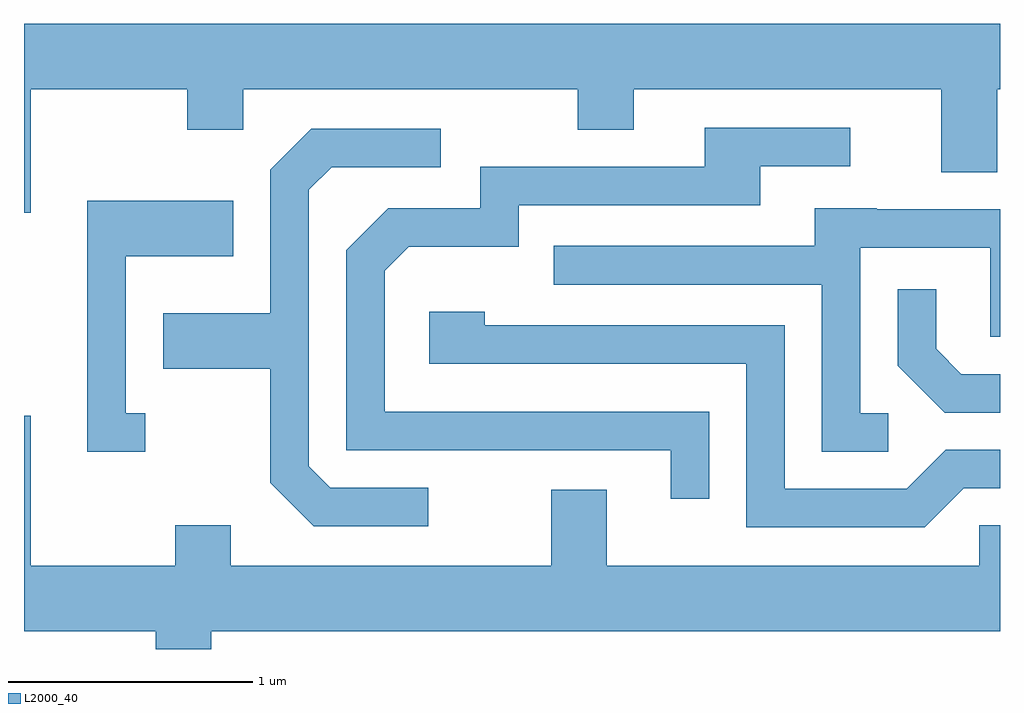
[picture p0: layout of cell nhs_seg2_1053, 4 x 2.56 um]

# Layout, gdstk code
import gdstk
lib = gdstk.Library(unit=1e-6, precision=1e-09)
def P(c, l, *ps):  # polygons
    for p in ps: c.add(gdstk.Polygon(p, *l))
L2000_40 = (2000, 40)

nhs_seg2_1053 = lib.new_cell('nhs_seg2_1053')
P(nhs_seg2_1053, L2000_40, [(215.639,1046.096),(216.281,1046.096),(216.281,1045.931),(216.509,1045.931),(216.509,1046.096),(217.881,1046.096),(217.881,1045.931),(218.109,1045.931),(218.109,1046.096),(219.371,1046.096),(219.371,1045.756),(219.599,1045.756),(219.599,1046.096),(219.611,1046.096),(219.611,1046.364),(215.611,1046.364),(215.611,1045.591),(215.639,1045.591)],
  [(218.419,1044.774),(217.089,1044.774),(217.089,1045.353),(217.187,1045.451),(217.639,1045.451),(217.639,1045.621),(218.629,1045.621),(218.629,1045.781),(218.998,1045.781),(218.998,1045.939),(218.401,1045.939),(218.401,1045.779),(217.481,1045.779),(217.481,1045.609),(217.104,1045.609),(216.931,1045.437),(216.931,1044.616),(218.261,1044.616),(218.261,1044.418),(218.419,1044.418)],
  [(217.268,1044.464),(216.867,1044.464),(216.779,1044.552),(216.779,1045.684),(216.872,1045.776),(217.318,1045.776),(217.318,1045.934),(216.789,1045.934),(216.621,1045.767),(216.621,1045.179),(216.181,1045.179),(216.181,1044.951),(216.621,1044.951),(216.621,1044.484),(216.799,1044.306),(217.268,1044.306)],
  [(216.108,1044.769),(216.029,1044.769),(216.029,1045.411),(216.469,1045.411),(216.469,1045.639),(215.871,1045.639),(215.871,1044.611),(216.108,1044.611)],
  [(219.153,1044.769),(219.039,1044.769),(219.039,1045.446),(219.571,1045.446),(219.571,1045.081),(219.611,1045.081),(219.611,1045.604),(219.105,1045.604),(219.105,1045.609),(218.851,1045.609),(218.851,1045.454),(217.783,1045.454),(217.783,1045.296),(218.881,1045.296),(218.881,1044.611),(219.153,1044.611)],
  [(219.611,1044.929),(219.452,1044.929),(219.349,1045.032),(219.349,1045.277),(219.191,1045.277),(219.191,1044.964),(219.384,1044.771),(219.611,1044.771)],
  [(219.462,1044.461),(219.611,1044.461),(219.611,1044.619),(219.389,1044.619),(219.229,1044.459),(218.729,1044.459),(218.729,1045.129),(217.499,1045.129),(217.499,1045.184),(217.271,1045.184),(217.271,1044.971),(218.571,1044.971),(218.571,1044.301),(219.302,1044.301)],
  [(216.379,1043.876),(219.611,1043.876),(219.611,1044.309),(219.526,1044.309),(219.526,1044.144),(217.999,1044.144),(217.999,1044.454),(217.771,1044.454),(217.771,1044.144),(216.459,1044.144),(216.459,1044.309),(216.231,1044.309),(216.231,1044.144),(215.639,1044.144),(215.639,1044.759),(215.611,1044.759),(215.611,1043.876),(216.151,1043.876),(216.151,1043.802),(216.379,1043.802)])

lib.write_gds('nhs_seg2_1053.gds')
